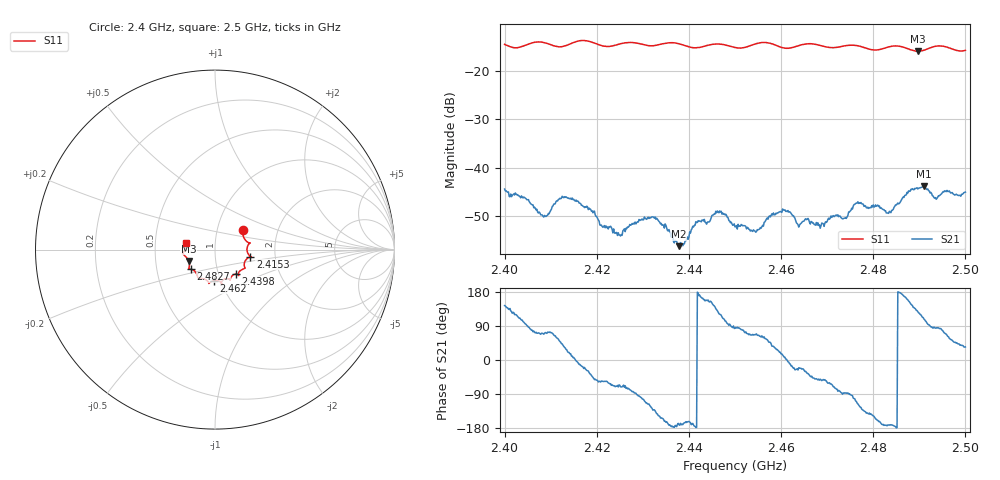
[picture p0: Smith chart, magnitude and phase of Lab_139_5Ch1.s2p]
# Hz S RI R 50
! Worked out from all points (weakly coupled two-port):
!   601 points, 2.4 GHz to 2.5 GHz, reference 50 ohm
!   highest |S21| = -43.90 dB at 2.491 GHz (marker M1); lowest = -56.3 dB at 2.4378 GHz (marker M2)
!   lowest |S11| = -15.9 dB at 2.4897 GHz (marker M3), VSWR 1.38, Z = 36.9 - j4.82 ohm
!   |S11| at or under -10 dB: start of sweep to end of sweep
!   S12 and S22 are empty: the file has one direction only
!   S11 on the Smith chart (normalised r, x): 2.4 GHz: 1.33, +0.30; 2.4153 GHz: 1.48, -0.12; 2.4398 GHz: 1.21, -0.34; 2.462 GHz: 0.93, -0.33; 2.4827 GHz: 0.75, -0.17; 2.5 GHz: 0.72, +0.06
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2.4e9  0.1554 0.107  -0.00482 0.00356  0 0  0 0
2.4085e9  0.1939 0.0365  0.00115 0.00285  0 0  0 0
2.412167e9  0.1779 -0.00239  0.00326 0.00347  0 0  0 0
2.415333e9  0.1963 -0.0387  0.00449 8.79e-05  0 0  0 0
2.416667e9  0.2024 -0.0427  0.00392 -0.00111  0 0  0 0
2.425e9  0.1646 -0.0963  0.000787 -0.00184  0 0  0 0
2.433333e9  0.1307 -0.1336  -0.00237 -0.00156  0 0  0 0
2.437833e9  0.1297 -0.1409  -0.00151 -0.000247  0 0  0 0
2.439833e9  0.1155 -0.136  -0.00173 -0.000537  0 0  0 0
2.446333e9  0.0851 -0.1703  -0.00208 0.0028  0 0  0 0
2.45e9  0.0654 -0.1625  0.000266 0.00242  0 0  0 0
2.454667e9  0.0356 -0.1889  0.000782 0.00203  0 0  0 0
2.462e9  -0.00522 -0.1729  0.00338 -0.000643  0 0  0 0
2.466667e9  -0.0345 -0.1881  0.00202 -0.00186  0 0  0 0
2.473833e9  -0.087 -0.1605  0.000182 -0.00299  0 0  0 0
2.476833e9  -0.096 -0.1544  -0.00205 -0.00372  0 0  0 0
2.482667e9  -0.135 -0.1093  -0.00354 -0.000475  0 0  0 0
2.483333e9  -0.1402 -0.1089  -0.00332 -0.000497  0 0  0 0
2.489667e9  -0.1469 -0.0636  -0.00367 0.00475  0 0  0 0
2.491e9  -0.1577 -0.0451  -0.00199 0.00606  0 0  0 0
2.4935e9  -0.1787 -0.0247  0.00052 0.00486  0 0  0 0
2.5e9  -0.1593 0.0386  0.00459 0.00315  0 0  0 0
